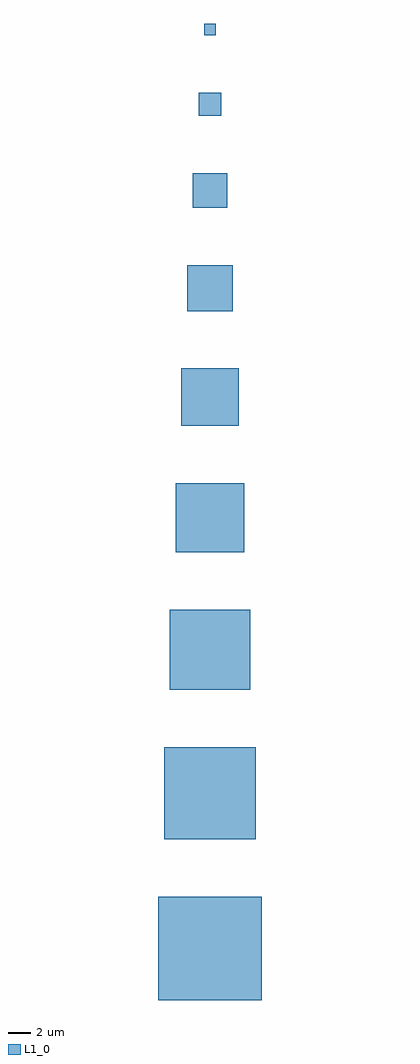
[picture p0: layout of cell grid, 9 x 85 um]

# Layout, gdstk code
import gdstk
lib = gdstk.Library(unit=1e-6, precision=1e-09)
def R(c, l, rs):  # rectangles x0, y0, x1, y1
    for r in rs: c.add(gdstk.rectangle(r[:2], r[2:], *l))
L1_0 = (1, 0)

rectangle_size1_1 = lib.new_cell('rectangle_size1_1')
R(rectangle_size1_1, L1_0, [(0,0,1,1)])

rectangle_size2_2 = lib.new_cell('rectangle_size2_2')
R(rectangle_size2_2, L1_0, [(0,0,2,2)])

rectangle_size3_3 = lib.new_cell('rectangle_size3_3')
R(rectangle_size3_3, L1_0, [(0,0,3,3)])

rectangle_size4_4 = lib.new_cell('rectangle_size4_4')
R(rectangle_size4_4, L1_0, [(0,0,4,4)])

rectangle_size5_5 = lib.new_cell('rectangle_size5_5')
R(rectangle_size5_5, L1_0, [(0,0,5,5)])

rectangle_size6_6 = lib.new_cell('rectangle_size6_6')
R(rectangle_size6_6, L1_0, [(0,0,6,6)])

rectangle_size7_7 = lib.new_cell('rectangle_size7_7')
R(rectangle_size7_7, L1_0, [(0,0,7,7)])

rectangle_size8_8 = lib.new_cell('rectangle_size8_8')
R(rectangle_size8_8, L1_0, [(0,0,8,8)])

rectangle_size9_9 = lib.new_cell('rectangle_size9_9')
R(rectangle_size9_9, L1_0, [(0,0,9,9)])

grid = lib.new_cell('grid')
grid.add(gdstk.Reference(rectangle_size1_1, (4,84)))
grid.add(gdstk.Reference(rectangle_size2_2, (3.5,77)))
grid.add(gdstk.Reference(rectangle_size3_3, (3,69)))
grid.add(gdstk.Reference(rectangle_size4_4, (2.5,60)))
grid.add(gdstk.Reference(rectangle_size5_5, (2,50)))
grid.add(gdstk.Reference(rectangle_size6_6, (1.5,39)))
grid.add(gdstk.Reference(rectangle_size7_7, (1,27)))
grid.add(gdstk.Reference(rectangle_size8_8, (0.5,14)))
grid.add(gdstk.Reference(rectangle_size9_9, (0,0)))

lib.write_gds('grid.gds')
